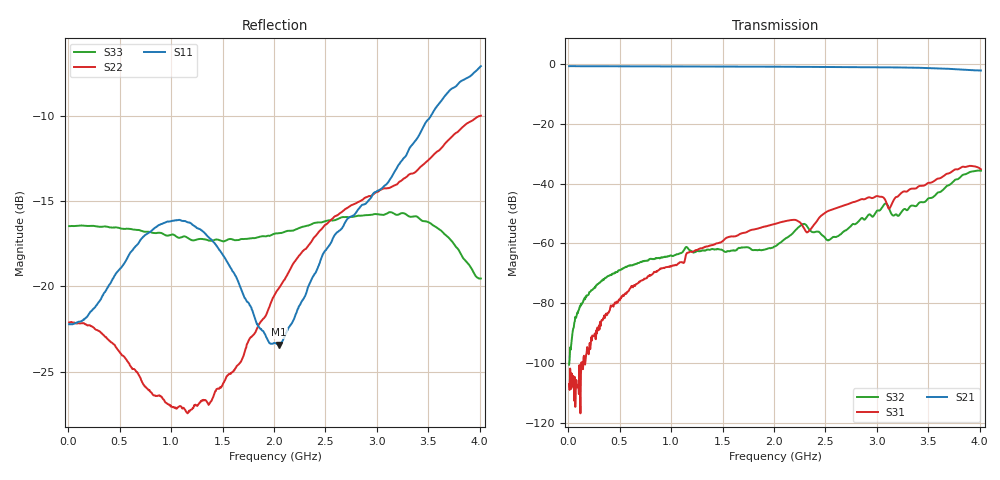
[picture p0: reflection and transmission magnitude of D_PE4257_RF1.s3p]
! Created Tue Sep 16 19:45:14 2008
# hz S ma R 50
! 3 Port Network Data from SP1.SP block
! freq  magS11  angS11  magS12  angS12  magS13  angS13
!  magS21  angS21
!  magS22  angS22  magS23  angS23
!  magS31  angS31  magS32  angS32
!  magS33  angS33
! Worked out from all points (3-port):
!   801 points, 10 MHz to 4.01 GHz, reference 50 ohm
!   strongest paths, dB at 10 MHz, 1.01 GHz, 2.01 GHz, 3.01 GHz, 4.01 GHz:
!     S21: -0.7, -0.8, -0.9, -1.1, -2.2
!     S31: -107.0, -67.5, -53.5, -44.2, -35.2
!     S32: -100.5, -64.2, -61.0, -49.0, -35.7
!   lowest |S11| = -23.4 dB at 2.05 GHz (marker M1), VSWR 1.14, Z = 45.8 - j4.89 ohm
!   |S11| at or under -10 dB: start of sweep to 3.526 GHz
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1e7  0.07751 -0.6  0.9203 -0.2  5.711e-06 117.0
     0.9204 -0.2  0.07842 -0.4  5.006e-06 26.3
     4.467e-06 100.8  9.397e-06 85.4  0.1502 -0.0
4.6e8  0.1085 -26.3  0.9175 -10.7  0.0001007 176.0
       0.9176 -10.7  0.06675 -27.8  0.0003255 87.9
       9.904e-05 178.0  0.000326 88.4  0.1489 -1.7
1.145e9  0.1549 -39.6  0.9106 -26.4  0.0006503 -160.2
         0.9107 -26.4  0.04302 -77.4  0.0008679 90.7
         0.0006439 -161.0  0.0008694 91.1  0.1397 -8.7
2.01e9  0.06827 -119.5  0.903 -46.4  0.002121 177.1
        0.903 -46.4  0.09488 -86.0  0.0008887 128.3
        0.00212 177.5  0.0008915 128.6  0.1429 -25.6
2.05e9  0.06748 -128.0  0.9019 -47.4  0.00224 176.5
        0.9019 -47.4  0.0989 -86.8  0.0009944 134.1
        0.002229 176.6  0.001001 134.0  0.1432 -26.5
2.33e9  0.09945 -169.1  0.8946 -53.9  0.001548 179.9
        0.8946 -53.9  0.1312 -95.4  0.001828 107.5
        0.001552 -179.9  0.001837 107.5  0.1507 -30.7
2.535e9  0.1317 -177.4  0.8906 -58.7  0.00354 -166.3
         0.8908 -58.7  0.1549 -103.1  0.001136 126.6
         0.003536 -166.3  0.001143 127.1  0.1562 -32.5
3e9  0.19 -169.7  0.8803 -70.1  0.006216 170.1
     0.8803 -70.1  0.1889 -132.9  0.003517 153.6
     0.006202 170.1  0.003512 153.8  0.1629 -33.4
3.12e9  0.2043 -162.2  0.8773 -73.0  0.00384 172.5
        0.8774 -73.0  0.1943 -142.9  0.003734 123.2
        0.003831 172.5  0.00373 123.3  0.1649 -32.3
4.01e9  0.4416 -131.9  0.7793 -96.2  0.01742 76.4
        0.7796 -96.2  0.3163 142.9  0.01635 98.4
        0.01741 76.5  0.01641 98.4  0.1055 -17.7
